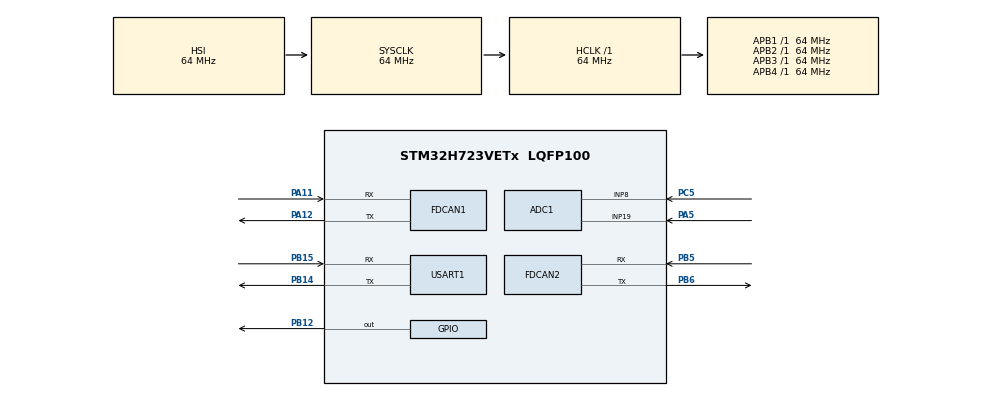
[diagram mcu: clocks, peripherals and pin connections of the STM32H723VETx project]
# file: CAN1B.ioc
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ADC1.Channel-1\#ChannelRegularConversion=ADC_CHANNEL_8
ADC1.NbrOfConversionFlag=1
ADC1.OffsetNumber-1\#ChannelRegularConversion=ADC_OFFSET_NONE
ADC1.OffsetSignedSaturation-1\#ChannelRegularConversion=DISABLE
ADC1.Rank-1\#ChannelRegularConversion=1
ADC1.SamplingTime-1\#ChannelRegularConversion=ADC_SAMPLETIME_1CYCLE_5
ADC1.master=1
CORTEX_M7.default_mode_Activation=1
FDCAN1.CalculateBaudRateNominal=2687500
FDCAN1.CalculateTimeBitNominal=372
FDCAN1.CalculateTimeQuantumNominal=124.03100775193798
FDCAN2.CalculateBaudRateNominal=2687500
FDCAN2.CalculateTimeBitNominal=372
FDCAN2.CalculateTimeQuantumNominal=124.03100775193798
Mcu.Family=STM32H7
Mcu.Name=STM32H723VETx
Mcu.Package=LQFP100
NVIC.PriorityGroup=NVIC_PRIORITYGROUP_4
NVIC.TIM1_UP_IRQn=true\:15\:0\:false\:false\:true\:false\:true\:true
NVIC.TimeBase=TIM1_UP_IRQn
NVIC.TimeBaseIP=TIM1
PA11.Mode=FDCAN_Activate
PA11.Signal=FDCAN1_RX
PA12.Mode=FDCAN_Activate
PA12.Signal=FDCAN1_TX
PA13(JTMS/SWDIO).Signal=DEBUG_JTMS-SWDIO
PA14(JTCK/SWCLK).Signal=DEBUG_JTCK-SWCLK
PA15(JTDI).Signal=DEBUG_JTDI
PA5.Signal=ADCx_INP19
PA6.Signal=S_TIM3_CH1
PB12.Signal=GPIO_Output
PB14.Mode=Asynchronous
PB14.Signal=USART1_TX
PB15.Mode=Asynchronous
PB15.Signal=USART1_RX
PB3(JTDO/TRACESWO).Signal=DEBUG_JTDO-SWO
PB5.Mode=FDCAN_Activate
PB5.Signal=FDCAN2_RX
PB6.Mode=FDCAN_Activate
PB6.Signal=FDCAN2_TX
PC5.Signal=ADCx_INP8
PE14.Signal=S_TIM1_CH4
PH0-OSC_IN.Mode=HSE-External-Oscillator
PH0-OSC_IN.Signal=RCC_OSC_IN
PH1-OSC_OUT.Mode=HSE-External-Oscillator
PH1-OSC_OUT.Signal=RCC_OSC_OUT
ProjectManager.HeapSize=0x200
ProjectManager.StackSize=0x400
ProjectManager.TargetToolchain=CMake
RCC.ADCFreq_Value=129000000
RCC.APB1Freq_Value=64000000
RCC.APB2Freq_Value=64000000
RCC.APB3Freq_Value=64000000
RCC.APB4Freq_Value=64000000
RCC.CortexFreq_Value=64000000
RCC.HCLKFreq_Value=64000000
RCC.SYSCLKFreq_VALUE=64000000
RCC.USBFreq_Value=129000000
SH.ADCx_INP19.0=ADC1_INP19,IN19-Single-Ended
SH.ADCx_INP8.0=ADC1_INP8,IN8-Single-Ended
SH.S_TIM1_CH4.0=TIM1_CH4
SH.S_TIM3_CH1.0=TIM3_CH1
USART1.VirtualMode-Asynchronous=VM_ASYNC
VP_MEMORYMAP_VS_MEMORYMAP.Mode=CurAppReg
VP_SYS_VS_tim1.Mode=TIM1
board=custom

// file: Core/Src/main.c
/* USER CODE BEGIN Header */
/**
  ******************************************************************************
  * @file           : main.c
  * @brief          : Main program body
  ******************************************************************************
  * @attention
  *
  * Copyright (c) 2026 STMicroelectronics.
  * All rights reserved.
  *
  * This software is licensed under terms that can be found in the LICENSE file
  * in the root directory of this software component.
  * If no LICENSE file comes with this software, it is provided AS-IS.
  *
  ******************************************************************************
  */
/* USER CODE END Header */
#include "main.h"

ADC_HandleTypeDef hadc1;

FDCAN_HandleTypeDef hfdcan1;
FDCAN_HandleTypeDef hfdcan2;

UART_HandleTypeDef huart1;

/* USER CODE BEGIN PV */
uint16_t adc_value;

FDCAN_TxHeaderTypeDef tx_header;
uint8_t tx_data[2];
/* USER CODE END PV */

void SystemClock_Config(void);
static void MPU_Config(void);
static void MX_GPIO_Init(void);
static void MX_ADC1_Init(void);
static void MX_FDCAN1_Init(void);
static void MX_FDCAN2_Init(void);
static void MX_USART1_UART_Init(void);

int main(void)
{

  /* MPU Configuration--------------------------------------------------------*/
  MPU_Config();

  /* MCU Configuration--------------------------------------------------------*/

  /* Reset of all peripherals, Initializes the Flash interface and the Systick. */
  HAL_Init();

  /* Configure the system clock */
  SystemClock_Config();

  /* Initialize all configured peripherals */
  MX_GPIO_Init();
  MX_ADC1_Init();
  MX_FDCAN1_Init();
  MX_FDCAN2_Init();
  MX_USART1_UART_Init();
  /* USER CODE BEGIN 2 */
  if (HAL_FDCAN_Start(&hfdcan1) != HAL_OK)
  {
    Error_Handler();
  }

  /* NOTE: FDCAN2 is initialized below but not started/used anywhere in this
   * file. If you don't actually need a second bus, remove MX_FDCAN2_Init()
   * and its call above to save RAM (message buffers) and code space. Left
   * in place here since removing a whole peripheral wasn't asked for. */

  tx_header.Identifier = 0x100;
  tx_header.IdType = FDCAN_STANDARD_ID;
  tx_header.TxFrameType = FDCAN_DATA_FRAME;
  tx_header.DataLength = FDCAN_DLC_BYTES_2;
  tx_header.ErrorStateIndicator = FDCAN_ESI_ACTIVE;
  tx_header.BitRateSwitch = FDCAN_BRS_OFF;
  tx_header.FDFormat = FDCAN_CLASSIC_CAN;
  tx_header.TxEventFifoControl = FDCAN_NO_TX_EVENTS;
  tx_header.MessageMarker = 0;
  /* USER CODE END 2 */

  /* Infinite loop */
  /* USER CODE BEGIN WHILE */
  while (1)
  {
    HAL_ADC_Start(&hadc1);
    HAL_ADC_PollForConversion(&hadc1, 100);

    adc_value = HAL_ADC_GetValue(&hadc1);

    HAL_ADC_Stop(&hadc1);

    tx_data[0] = adc_value & 0xFF;
    tx_data[1] = (adc_value >> 8) & 0xFF;

    /* Check the return value: with only 1 TX FIFO element allocated,
     * a message can be dropped if the FIFO is still full from the
     * previous frame (e.g. arbitration loss, bus-off, etc). */
    if (HAL_FDCAN_AddMessageToTxFifoQ(&hfdcan1, &tx_header, tx_data) != HAL_OK)
    {
      /* USER CODE: handle/log the dropped frame as appropriate for
       * your application (retry, error counter, fault LED, etc). */
    }

    HAL_GPIO_TogglePin(GPIOB, GPIO_PIN_12);

    HAL_Delay(100);
    /* USER CODE END WHILE */

  }
}

void SystemClock_Config(void)
{
  RCC_OscInitTypeDef RCC_OscInitStruct = {0};
  RCC_ClkInitTypeDef RCC_ClkInitStruct = {0};

  /** Supply configuration update enable
  */
  HAL_PWREx_ConfigSupply(PWR_LDO_SUPPLY);

  /** Configure the main internal regulator output voltage
   *
   * FIX: The original config requested VOS3 with PLL1 output at 129 MHz
   * and FLASH_LATENCY_1. VOS3 does not support 129 MHz SYSCLK on STM32H7
   * parts (VOS3 max is well under 100 MHz depending on part; consult your
   * exact part's datasheet voltage-scaling table). Below, PLLN is lowered
   * so SYSCLK lands at 64 MHz, which VOS3 supports, and flash latency is
   * bumped to a safe value for that frequency/voltage combo.
   *
   * If you actually need ~129 MHz+, switch to VOS1 or VOS0 instead
   * (HAL_PWREx_ConfigSupply + PWR_REGULATOR_VOLTAGE_SCALE1/0) and set
   * FLASH_LATENCY per the reference manual's table for that voltage
   * scale and frequency.
  */
  __HAL_PWR_VOLTAGESCALING_CONFIG(PWR_REGULATOR_VOLTAGE_SCALE3);

  while(!__HAL_PWR_GET_FLAG(PWR_FLAG_VOSRDY)) {}

  /** Initializes the RCC Oscillators according to the specified parameters
  * in the RCC_OscInitTypeDef structure.
  */
  RCC_OscInitStruct.OscillatorType = RCC_OSCILLATORTYPE_HSI;
  RCC_OscInitStruct.HSIState = RCC_HSI_DIV1;
  RCC_OscInitStruct.HSICalibrationValue = 64;
  RCC_OscInitStruct.PLL.PLLState = RCC_PLL_ON;
  RCC_OscInitStruct.PLL.PLLSource = RCC_PLLSOURCE_HSI;
  RCC_OscInitStruct.PLL.PLLM = 32;
  RCC_OscInitStruct.PLL.PLLN = 64;   /* FIX: was 129 -> 258 MHz VCO / 2 = 129 MHz SYSCLK, too high for VOS3 */
  RCC_OscInitStruct.PLL.PLLP = 2;
  RCC_OscInitStruct.PLL.PLLQ = 2;
  RCC_OscInitStruct.PLL.PLLR = 2;
  RCC_OscInitStruct.PLL.PLLRGE = RCC_PLL1VCIRANGE_1;
  RCC_OscInitStruct.PLL.PLLVCOSEL = RCC_PLL1VCOWIDE;
  RCC_OscInitStruct.PLL.PLLFRACN = 0;
  if (HAL_RCC_OscConfig(&RCC_OscInitStruct) != HAL_OK)
  {
    Error_Handler();
  }

  /** Initializes the CPU, AHB and APB buses clocks
  */
  RCC_ClkInitStruct.ClockType = RCC_CLOCKTYPE_HCLK|RCC_CLOCKTYPE_SYSCLK
                              |RCC_CLOCKTYPE_PCLK1|RCC_CLOCKTYPE_PCLK2
                              |RCC_CLOCKTYPE_D3PCLK1|RCC_CLOCKTYPE_D1PCLK1;
  RCC_ClkInitStruct.SYSCLKSource = RCC_SYSCLKSOURCE_HSI;
  RCC_ClkInitStruct.SYSCLKDivider = RCC_SYSCLK_DIV1;
  RCC_ClkInitStruct.AHBCLKDivider = RCC_HCLK_DIV1;
  RCC_ClkInitStruct.APB3CLKDivider = RCC_APB3_DIV1;
  RCC_ClkInitStruct.APB1CLKDivider = RCC_APB1_DIV1;
  RCC_ClkInitStruct.APB2CLKDivider = RCC_APB2_DIV1;
  RCC_ClkInitStruct.APB4CLKDivider = RCC_APB4_DIV1;

  /* FIX: bumped from FLASH_LATENCY_1 to FLASH_LATENCY_2, which is the
   * safe number of wait states for ~64 MHz HCLK at VOS3 on most H7 parts.
   * Re-check against your exact part's reference manual flash latency
   * table if you change SYSCLK or voltage scale. */
  if (HAL_RCC_ClockConfig(&RCC_ClkInitStruct, FLASH_LATENCY_2) != HAL_OK)
  {
    Error_Handler();
  }

  /* NOTE: FDCAN's kernel clock source (PLL1Q) and peripheral clock enable
   * are already correctly configured in stm32h7xx_hal_msp.c
   * (HAL_FDCAN_MspInit), which runs automatically inside HAL_FDCAN_Init().
   * That file also handles clock-enable reference counting across
   * FDCAN1/FDCAN2, so nothing further is needed here -- an earlier
   * version of this function duplicated that config directly, which has
   * been removed to avoid bypassing the reference count. */
}

static void MX_ADC1_Init(void)
{

  ADC_MultiModeTypeDef multimode = {0};
  ADC_ChannelConfTypeDef sConfig = {0};

  /** Common config
  */
  hadc1.Instance = ADC1;
  hadc1.Init.ClockPrescaler = ADC_CLOCK_ASYNC_DIV4;
  hadc1.Init.Resolution = ADC_RESOLUTION_16B;
  hadc1.Init.ScanConvMode = ADC_SCAN_DISABLE;
  hadc1.Init.EOCSelection = ADC_EOC_SINGLE_CONV;
  hadc1.Init.LowPowerAutoWait = DISABLE;
  hadc1.Init.ContinuousConvMode = DISABLE;
  hadc1.Init.NbrOfConversion = 1;
  hadc1.Init.DiscontinuousConvMode = DISABLE;
  hadc1.Init.ExternalTrigConv = ADC_SOFTWARE_START;
  hadc1.Init.ExternalTrigConvEdge = ADC_EXTERNALTRIGCONVEDGE_NONE;
  hadc1.Init.ConversionDataManagement = ADC_CONVERSIONDATA_DR;
  hadc1.Init.Overrun = ADC_OVR_DATA_PRESERVED;
  hadc1.Init.LeftBitShift = ADC_LEFTBITSHIFT_NONE;
  hadc1.Init.OversamplingMode = DISABLE;
  hadc1.Init.Oversampling.Ratio = 1;
  if (HAL_ADC_Init(&hadc1) != HAL_OK)
  {
    Error_Handler();
  }

  /** Configure the ADC multi-mode
  */
  multimode.Mode = ADC_MODE_INDEPENDENT;
  if (HAL_ADCEx_MultiModeConfigChannel(&hadc1, &multimode) != HAL_OK)
  {
    Error_Handler();
  }

  /** Configure Regular Channel
  */
  sConfig.Channel = ADC_CHANNEL_8;
  sConfig.Rank = ADC_REGULAR_RANK_1;
  /* FIX: sample time bumped from 1.5 cycles to 8.5 cycles. 1.5 cycles at
   * 16-bit resolution is only safe for a very low-impedance source;
   * increase further (e.g. 32.5/64.5 cycles) if your signal source has
   * meaningful output impedance or you see noisy/unstable readings. */
  sConfig.SamplingTime = ADC_SAMPLETIME_8CYCLES_5;
  sConfig.SingleDiff = ADC_SINGLE_ENDED;
  sConfig.OffsetNumber = ADC_OFFSET_NONE;
  sConfig.Offset = 0;
  sConfig.OffsetSignedSaturation = DISABLE;
  if (HAL_ADC_ConfigChannel(&hadc1, &sConfig) != HAL_OK)
  {
    Error_Handler();
  }

}

static void MX_FDCAN1_Init(void)
{

  hfdcan1.Instance = FDCAN1;
  hfdcan1.Init.FrameFormat = FDCAN_FRAME_CLASSIC;
  hfdcan1.Init.Mode = FDCAN_MODE_NORMAL;
  hfdcan1.Init.AutoRetransmission = DISABLE;
  hfdcan1.Init.TransmitPause = DISABLE;
  hfdcan1.Init.ProtocolException = DISABLE;
  /*
   * FIX: bit timing below is sized for a 500 kbit/s classic-CAN nominal
   * bit rate. Your stm32h7xx_hal_msp.c selects PLL1Q as the FDCAN kernel
   * clock (RCC_FDCANCLKSOURCE_PLL in HAL_FDCAN_MspInit); with the PLL1
   * config in SystemClock_Config() (PLLM=32, PLLN=64, PLLQ=2 off a 64 MHz
   * HSI), PLL1Q works out to 64 MHz. If you change PLLN/PLLQ/PLLM or the
   * oscillator source, recompute prescaler/seg1/seg2 to match:
   *
   *   kernel_clk / NominalPrescaler = 64 MHz / 8 = 8 MHz time-quantum clock
   *   bit time = 1 (sync) + NominalTimeSeg1 + NominalTimeSeg2 = 16 quanta
   *   8 MHz / 16 quanta = 500 kHz  ->  500 kbit/s
   *   sample point = (1 + 13) / 16 = 87.5%
   *
   * The original values (prescaler 16, seg1 1, seg2 1 = 3 quanta total)
   * were not a valid/usable bit time -- TimeSeg1 must be at least 2, and
   * a real bit needs several quanta with the sample point in the
   * ~75-87.5% range.
   */
  hfdcan1.Init.NominalPrescaler = 8;
  hfdcan1.Init.NominalSyncJumpWidth = 2;
  hfdcan1.Init.NominalTimeSeg1 = 13;
  hfdcan1.Init.NominalTimeSeg2 = 2;
  hfdcan1.Init.DataPrescaler = 8;
  hfdcan1.Init.DataSyncJumpWidth = 2;
  hfdcan1.Init.DataTimeSeg1 = 13;
  hfdcan1.Init.DataTimeSeg2 = 2;
  hfdcan1.Init.MessageRAMOffset = 0;
  hfdcan1.Init.StdFiltersNbr = 0;
  hfdcan1.Init.ExtFiltersNbr = 0;
  hfdcan1.Init.RxFifo0ElmtsNbr = 0;
  hfdcan1.Init.RxFifo0ElmtSize = FDCAN_DATA_BYTES_8;
  hfdcan1.Init.RxFifo1ElmtsNbr = 0;
  hfdcan1.Init.RxFifo1ElmtSize = FDCAN_DATA_BYTES_8;
  hfdcan1.Init.RxBuffersNbr = 0;
  hfdcan1.Init.RxBufferSize = FDCAN_DATA_BYTES_8;
  hfdcan1.Init.TxEventsNbr = 0;
  hfdcan1.Init.TxBuffersNbr = 0;
  /* FIX: bumped from 1 to 4 TX FIFO elements so back-to-back frames have
   * some headroom instead of being dropped whenever the bus is briefly
   * busy. Adjust to taste. */
  hfdcan1.Init.TxFifoQueueElmtsNbr = 4;
  hfdcan1.Init.TxFifoQueueMode = FDCAN_TX_FIFO_OPERATION;
  hfdcan1.Init.TxElmtSize = FDCAN_DATA_BYTES_8;
  if (HAL_FDCAN_Init(&hfdcan1) != HAL_OK)
  {
    Error_Handler();
  }

}

static void MX_FDCAN2_Init(void)
{

  hfdcan2.Instance = FDCAN2;
  hfdcan2.Init.FrameFormat = FDCAN_FRAME_CLASSIC;
  hfdcan2.Init.Mode = FDCAN_MODE_NORMAL;
  hfdcan2.Init.AutoRetransmission = DISABLE;
  hfdcan2.Init.TransmitPause = DISABLE;
  hfdcan2.Init.ProtocolException = DISABLE;
  /* Same bit-timing fix as FDCAN1 above, now matched to the 64 MHz PLL1Q
   * kernel clock set in SystemClock_Config(). Note FDCAN2 is still never
   * started/used in main(); remove it if unneeded. */
  hfdcan2.Init.NominalPrescaler = 8;
  hfdcan2.Init.NominalSyncJumpWidth = 2;
  hfdcan2.Init.NominalTimeSeg1 = 13;
  hfdcan2.Init.NominalTimeSeg2 = 2;
  hfdcan2.Init.DataPrescaler = 8;
  hfdcan2.Init.DataSyncJumpWidth = 2;
  hfdcan2.Init.DataTimeSeg1 = 13;
  hfdcan2.Init.DataTimeSeg2 = 2;
  hfdcan2.Init.MessageRAMOffset = 0;
  hfdcan2.Init.StdFiltersNbr = 0;
  hfdcan2.Init.ExtFiltersNbr = 0;
  hfdcan2.Init.RxFifo0ElmtsNbr = 0;
  hfdcan2.Init.RxFifo0ElmtSize = FDCAN_DATA_BYTES_8;
  hfdcan2.Init.RxFifo1ElmtsNbr = 0;
  hfdcan2.Init.RxFifo1ElmtSize = FDCAN_DATA_BYTES_8;
  hfdcan2.Init.RxBuffersNbr = 0;
  hfdcan2.Init.RxBufferSize = FDCAN_DATA_BYTES_8;
  hfdcan2.Init.TxEventsNbr = 0;
  hfdcan2.Init.TxBuffersNbr = 0;
  hfdcan2.Init.TxFifoQueueElmtsNbr = 0;
  hfdcan2.Init.TxFifoQueueMode = FDCAN_TX_FIFO_OPERATION;
  hfdcan2.Init.TxElmtSize = FDCAN_DATA_BYTES_8;
  if (HAL_FDCAN_Init(&hfdcan2) != HAL_OK)
  {
    Error_Handler();
  }

}

static void MX_USART1_UART_Init(void)
{

  huart1.Instance = USART1;
  huart1.Init.BaudRate = 115200;
  huart1.Init.WordLength = UART_WORDLENGTH_8B;
  huart1.Init.StopBits = UART_STOPBITS_1;
  huart1.Init.Parity = UART_PARITY_NONE;
  huart1.Init.Mode = UART_MODE_TX_RX;
  huart1.Init.HwFlowCtl = UART_HWCONTROL_NONE;
  huart1.Init.OverSampling = UART_OVERSAMPLING_16;
  huart1.Init.OneBitSampling = UART_ONE_BIT_SAMPLE_DISABLE;
  huart1.Init.ClockPrescaler = UART_PRESCALER_DIV1;
  huart1.AdvancedInit.AdvFeatureInit = UART_ADVFEATURE_NO_INIT;
  if (HAL_UART_Init(&huart1) != HAL_OK)
  {
    Error_Handler();
  }
  if (HAL_UARTEx_SetTxFifoThreshold(&huart1, UART_TXFIFO_THRESHOLD_1_8) != HAL_OK)
  {
    Error_Handler();
  }
  if (HAL_UARTEx_SetRxFifoThreshold(&huart1, UART_RXFIFO_THRESHOLD_1_8) != HAL_OK)
  {
    Error_Handler();
  }
  if (HAL_UARTEx_DisableFifoMode(&huart1) != HAL_OK)
  {
    Error_Handler();
  }

}

static void MX_GPIO_Init(void)
{
  GPIO_InitTypeDef GPIO_InitStruct = {0};

  /* GPIO Ports Clock Enable */
  __HAL_RCC_GPIOH_CLK_ENABLE();
  __HAL_RCC_GPIOA_CLK_ENABLE();
  __HAL_RCC_GPIOC_CLK_ENABLE();
  __HAL_RCC_GPIOE_CLK_ENABLE();
  __HAL_RCC_GPIOB_CLK_ENABLE();

  /*Configure GPIO pin Output Level */
  HAL_GPIO_WritePin(GPIOB, GPIO_PIN_12, GPIO_PIN_RESET);

  /*Configure GPIO pin : PA6 */
  GPIO_InitStruct.Pin = GPIO_PIN_6;
  GPIO_InitStruct.Mode = GPIO_MODE_AF_PP;
  GPIO_InitStruct.Pull = GPIO_NOPULL;
  GPIO_InitStruct.Speed = GPIO_SPEED_FREQ_LOW;
  GPIO_InitStruct.Alternate = GPIO_AF2_TIM3;
  HAL_GPIO_Init(GPIOA, &GPIO_InitStruct);

  /*Configure GPIO pin : PE14 */
  GPIO_InitStruct.Pin = GPIO_PIN_14;
  GPIO_InitStruct.Mode = GPIO_MODE_AF_PP;
  GPIO_InitStruct.Pull = GPIO_NOPULL;
  GPIO_InitStruct.Speed = GPIO_SPEED_FREQ_LOW;
  GPIO_InitStruct.Alternate = GPIO_AF1_TIM1;
  HAL_GPIO_Init(GPIOE, &GPIO_InitStruct);

  /*Configure GPIO pin : PB12 */
  GPIO_InitStruct.Pin = GPIO_PIN_12;
  GPIO_InitStruct.Mode = GPIO_MODE_OUTPUT_PP;
  GPIO_InitStruct.Pull = GPIO_NOPULL;
  GPIO_InitStruct.Speed = GPIO_SPEED_FREQ_LOW;
  HAL_GPIO_Init(GPIOB, &GPIO_InitStruct);

  /* NOTE: ADC1_INP8's actual analog pin (PC5) and FDCAN1's TX/RX pins
   * (PA11/PA12, AF9) are already correctly configured in
   * stm32h7xx_hal_msp.c (HAL_ADC_MspInit / HAL_FDCAN_MspInit), which run
   * automatically when HAL_ADC_Init() / HAL_FDCAN_Init() are called. No
   * additional GPIO setup is needed here for those -- an earlier version
   * of this file added redundant (and, for the ADC pin, incorrect: PC2
   * instead of the real PC5) config here, which has been removed. */

}

 /* MPU Configuration */

void MPU_Config(void)
{
  MPU_Region_InitTypeDef MPU_InitStruct = {0};

  /* Disables the MPU */
  HAL_MPU_Disable();

  /** Initializes and configures the Region and the memory to be protected
  */
  MPU_InitStruct.Enable = MPU_REGION_ENABLE;
  MPU_InitStruct.Number = MPU_REGION_NUMBER0;
  MPU_InitStruct.BaseAddress = 0x0;
  MPU_InitStruct.Size = MPU_REGION_SIZE_4GB;
  MPU_InitStruct.SubRegionDisable = 0x87;
  MPU_InitStruct.TypeExtField = MPU_TEX_LEVEL0;
  MPU_InitStruct.AccessPermission = MPU_REGION_NO_ACCESS;
  MPU_InitStruct.DisableExec = MPU_INSTRUCTION_ACCESS_DISABLE;
  MPU_InitStruct.IsShareable = MPU_ACCESS_SHAREABLE;
  MPU_InitStruct.IsCacheable = MPU_ACCESS_NOT_CACHEABLE;
  MPU_InitStruct.IsBufferable = MPU_ACCESS_NOT_BUFFERABLE;

  HAL_MPU_ConfigRegion(&MPU_InitStruct);
  /* Enables the MPU */
  HAL_MPU_Enable(MPU_PRIVILEGED_DEFAULT);

}

void HAL_TIM_PeriodElapsedCallback(TIM_HandleTypeDef *htim)
{
  if (htim->Instance == TIM1)
  {
    HAL_IncTick();
  }
}

void Error_Handler(void)
{
  __disable_irq();
  while (1)
  {
  }
}
